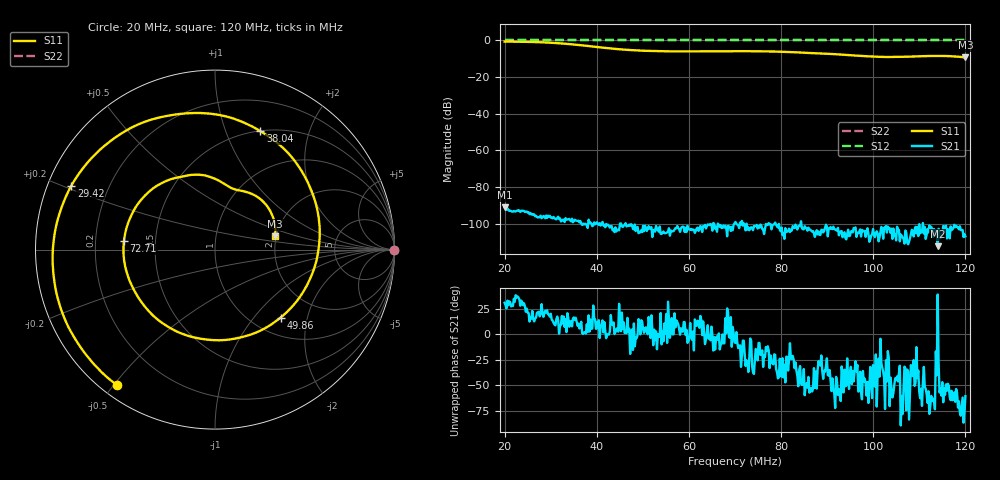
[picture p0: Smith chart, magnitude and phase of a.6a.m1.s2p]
! Anritsu VNA Master:  Model: MS2036C/10/77
! SN:  1601066
! /bd0/18may07/256.ew.m1.s2p
! Existing Calibration Information:
! TYPE:  Current Settings,  Active Cal Settings
! TIME:  05/07/2018 11:49:56 AM,  05/07/2018 11:47:21 AM
! INTERNAL TEMP:  52.3 C,  52.0 C
! # POINTS:  500,  500
! START FREQ:  20.000 MHz,  20.000 MHz
! STOP FREQ:  120.000 MHz,  120.000 MHz
! SOURCE POWER:  High,  High
! IFBW:  50 Hz,  50 Hz
! AVG FACTOR:  1 ,  1
! REF PLANE 1:  0 mm,  0 mm
! REF PLANE 2:  0 mm,  0 mm
! CAL TYPE:  Full S11,  Full S11
! CAL METHOD:  SOLT,  SOLT
! CAL LINE TYPE:  Coax,  Coax
! DUT PORT 1:  K-Conn(F),  K-Conn(F)
! DUT PORT 2:  K-Conn(F),  K-Conn(F)
! CAL STATUS:  OK: Accuracy High,  --
# GHZ S DB R 50.0
! FREQ.GHZ  S11DB  S11A  S21DB  S21A  S12DB  S12A  S22DB  S22A
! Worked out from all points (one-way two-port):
!   500 points, 20 MHz to 120 MHz, reference 50 ohm
!   highest |S21| = -91.03 dB at 20 MHz (marker M1); lowest = -112.2 dB at 114 MHz (marker M2)
!   lowest |S11| = -9.3 dB at 120 MHz (marker M3), VSWR 2.04, Z = 98.5 + j16.6 ohm
!   |S11| at or under -10 dB: nowhere
!   |S22| runs from 0.0 to 0.0 dB; largest |S21 - S12| = 1
!   S11 on the Smith chart (normalised r, x): 20 MHz: 0.04, -0.51; 29.42 MHz: 0.07, +0.21; 38.04 MHz: 0.50, +1.33; 49.86 MHz: 1.32, -1.39; 72.71 MHz: 0.33, +0.04; 120 MHz: 1.97, +0.33
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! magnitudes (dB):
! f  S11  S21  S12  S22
! 20 MHz  -0.6  -91.0  0.0  0.0
! 24.81 MHz  -0.8  -93.3  0.0  0.0
! 29.42 MHz  -1.2  -95.6  0.0  0.0
! 32.83 MHz  -1.7  -97.8  0.0  0.0
! 36.83 MHz  -2.7  -100.6  0.0  0.0
! 38.04 MHz  -3.0  -102.3  0.0  0.0
! 44.65 MHz  -4.8  -103.3  0.0  0.0
! 49.86 MHz  -5.6  -104.6  0.0  0.0
! 53.47 MHz  -5.9  -104.3  0.0  0.0
! 57.07 MHz  -6.0  -102.4  0.0  0.0
! 70.1 MHz  -5.9  -99.0  0.0  0.0
! 72.71 MHz  -5.9  -103.3  0.0  0.0
! 80.12 MHz  -6.2  -102.1  0.0  0.0
! 86.73 MHz  -6.9  -104.3  0.0  0.0
! 91.54 MHz  -7.5  -102.9  0.0  0.0
! 99.56 MHz  -8.7  -106.5  0.0  0.0
! 103.4 MHz  -9.0  -102.4  0.0  0.0
! 105.6 MHz  -9.0  -103.4  0.0  0.0
! 111.4 MHz  -8.5  -108.3  0.0  0.0
! 114 MHz  -8.4  -112.2  0.0  0.0
! 117.2 MHz  -8.6  -103.1  0.0  0.0
! 120 MHz  -9.3  -106.9  0.0  0.0
